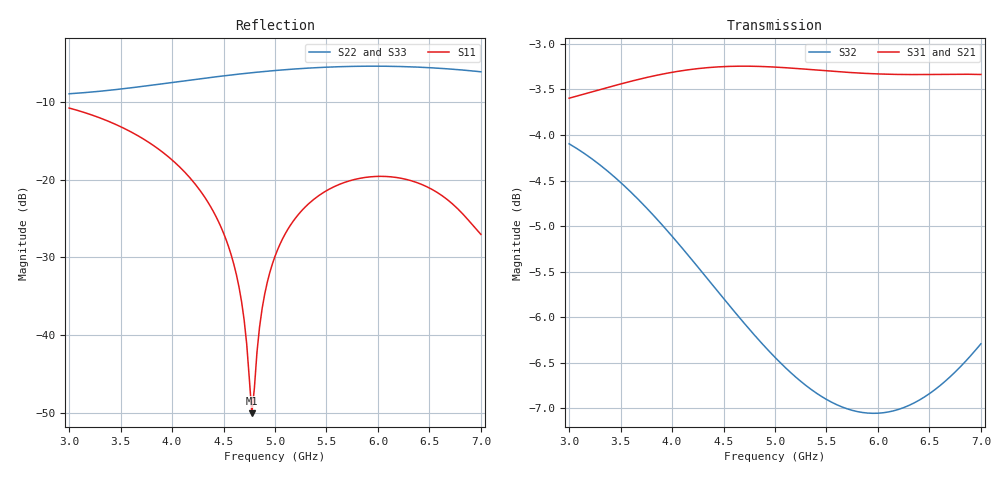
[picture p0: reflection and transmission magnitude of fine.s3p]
! yapnr rf: divider-osh-w-star-sched-w-eq-em528-fwd, footprint re-simulated (refine 2)
! spec sha256 93e0f3d123ef5b798d862bf4c4a94fe7c0b8a7d67cfc294c964d704fa89c1cb5
! 3 ports renormalized to 50 ohm, e^(+jwt) convention
# GHz S RI R 50
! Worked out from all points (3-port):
!   161 points, 3 GHz to 7 GHz, reference 50 ohm
!   strongest paths, dB at 3 GHz, 4 GHz, 5 GHz, 6 GHz, 7 GHz:
!     S31: -3.6, -3.3, -3.3, -3.3, -3.3
!     S21: -3.6, -3.3, -3.3, -3.3, -3.3
!     S32: -4.1, -5.1, -6.4, -7.1, -6.3
!   lowest |S11| = -50.0 dB at 4.775 GHz (marker M1), VSWR 1.01, Z = 49.8 + j0.269 ohm
!   |S11| at or under -10 dB: start of sweep to end of sweep
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3  -0.107 0.2683  -0.387 -0.5364  -0.387 -0.5364
   -0.3869 -0.5359  0.3155 0.1666  -0.6052 -0.1519
   -0.3869 -0.5359  -0.6052 -0.1519  0.3155 0.1666
3.825  0.0279 0.1625  -0.6502 -0.199  -0.6502 -0.199
       -0.65 -0.1995  0.3628 -0.1844  -0.4819 0.3038
       -0.65 -0.1995  -0.4819 0.3038  0.3628 -0.1844
4.375  0.0346 0.0574  -0.6787 0.1041  -0.6787 0.1041
       -0.6795 0.103  0.2338 -0.3895  -0.2523 0.4588
       -0.6795 0.103  -0.2523 0.4588  0.2338 -0.3895
4.65  0.0122 0.0164  -0.6384 0.2543  -0.6384 0.2543
      -0.64 0.2533  0.1338 -0.4583  -0.1312 0.4839
      -0.64 0.2533  -0.1312 0.4839  0.1338 -0.4583
4.775  -0.00162 0.0027  -0.6086 0.3186  -0.6086 0.3186
       -0.6105 0.3177  0.0833 -0.4801  -0.0784 0.4856
       -0.6105 0.3177  -0.0784 0.4856  0.0833 -0.4801
4.875  -0.0137 -0.00577  -0.5799 0.3675  -0.5799 0.3675
       -0.5821 0.3668  0.0414 -0.493  -0.0377 0.4833
       -0.5821 0.3668  -0.0377 0.4833  0.0414 -0.493
5  -0.0293 -0.0131  -0.5384 0.4248  -0.5384 0.4248
   -0.5408 0.4245  -0.0122 -0.5032  0.011 0.4764
   -0.5408 0.4245  0.011 0.4764  -0.0122 -0.5032
5.35  -0.0705 -0.0157  -0.3937 0.558  -0.3937 0.558
      -0.3966 0.559  -0.1626 -0.497  0.1332 0.4378
      -0.3966 0.559  0.1332 0.4378  -0.1626 -0.497
5.9  -0.1027 0.0156  -0.1096 0.6699  -0.1096 0.6699
     -0.1112 0.6728  -0.3661 -0.3925  0.2866 0.3393
     -0.1112 0.6728  0.2866 0.3393  -0.3661 -0.3925
7  -0.0434 0.00987  0.4699 0.4894  0.4699 0.4894
   0.4733 0.4898  -0.494 -0.00498  0.4841 0.0232
   0.4733 0.4898  0.4841 0.0232  -0.494 -0.00498
